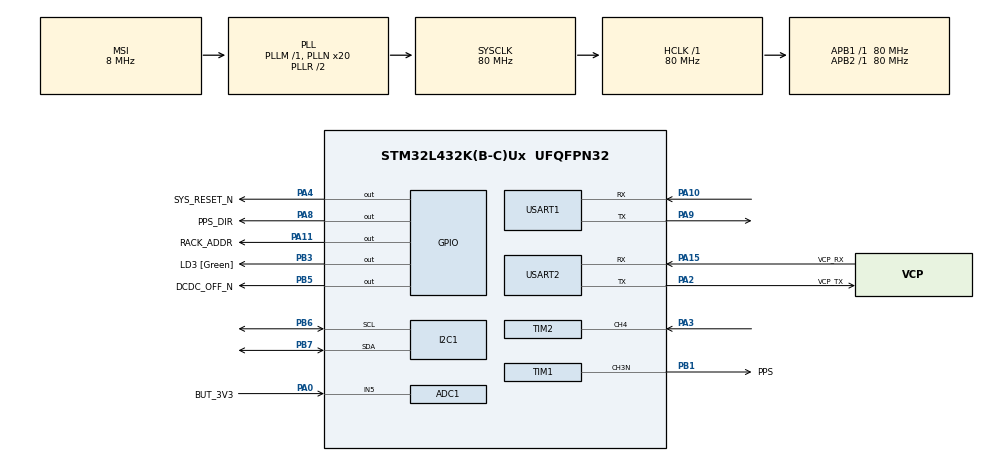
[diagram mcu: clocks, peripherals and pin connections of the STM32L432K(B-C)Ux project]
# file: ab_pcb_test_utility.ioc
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ADC1.Channel-0\#ChannelRegularConversion=ADC_CHANNEL_VREFINT
ADC1.Channel-2\#ChannelRegularConversion=ADC_CHANNEL_5
ADC1.NbrOfConversion=2
ADC1.NbrOfConversionFlag=1
ADC1.OffsetNumber-0\#ChannelRegularConversion=ADC_OFFSET_NONE
ADC1.OffsetNumber-2\#ChannelRegularConversion=ADC_OFFSET_NONE
ADC1.Rank-0\#ChannelRegularConversion=1
ADC1.Rank-2\#ChannelRegularConversion=2
ADC1.SamplingTime-0\#ChannelRegularConversion=ADC_SAMPLETIME_247CYCLES_5
ADC1.SamplingTime-2\#ChannelRegularConversion=ADC_SAMPLETIME_247CYCLES_5
ADC1.master=1
FREERTOS.Queues01=serialRxEventQueue,128,uint32_t,0,Dynamic,NULL,NULL;serialCmdTaskRxData,128,uint32_t,0,Dynamic,NULL,NULL;serialCmdTaskTxData,512,uint32_t,0,Dynamic,NULL,NULL
FREERTOS.Tasks01=defaultTask,0,128,StartDefaultTask,Default,NULL,Dynamic,NULL,NULL;serialBufferTask,0,256,sbt_SerialBufferTask,As external,NULL,Dynamic,NULL,NULL;serialCmdTask,-1,512,sct_SerialCmdTask,As external,NULL,Dynamic,NULL,NULL
FREERTOS.configMAX_TASK_NAME_LEN=32
FREERTOS.configTOTAL_HEAP_SIZE=8192
I2C1.Timing=0x10909CEC
Mcu.Family=STM32L4
Mcu.Name=STM32L432K(B-C)Ux
Mcu.Package=UFQFPN32
NVIC.PriorityGroup=NVIC_PRIORITYGROUP_4
NVIC.TIM1_CC_IRQn=true\:5\:0\:true\:false\:true\:false\:true\:true
NVIC.TIM1_UP_TIM16_IRQn=true\:0\:0\:false\:false\:true\:false\:false\:true
NVIC.TimeBase=TIM1_UP_TIM16_IRQn
NVIC.TimeBaseIP=TIM16
NVIC.USART2_IRQn=true\:5\:0\:true\:false\:true\:false\:true\:true
PA0.GPIO_Label=BUT_3V3
PA0.Signal=ADCx_IN5
PA10.Mode=Asynchronous
PA10.Signal=USART1_RX
PA11.GPIO_Label=RACK_ADDR
PA11.GPIO_ModeDefaultOutputPP=GPIO_MODE_OUTPUT_OD
PA11.Signal=GPIO_Output
PA13\ (JTMS-SWDIO).GPIO_Label=SWDIO
PA13\ (JTMS-SWDIO).Mode=Serial_Wire
PA13\ (JTMS-SWDIO).Signal=SYS_JTMS-SWDIO
PA14\ (JTCK-SWCLK).GPIO_Label=SWCLK
PA14\ (JTCK-SWCLK).Mode=Serial_Wire
PA14\ (JTCK-SWCLK).Signal=SYS_JTCK-SWCLK
PA15\ (JTDI).GPIO_Label=VCP_RX
PA15\ (JTDI).Mode=Asynchronous
PA15\ (JTDI).Signal=USART2_RX
PA2.GPIO_Label=VCP_TX
PA2.Mode=Asynchronous
PA2.Signal=USART2_TX
PA3.Signal=S_TIM2_CH4
PA4.GPIO_Label=SYS_RESET_N
PA4.GPIO_ModeDefaultOutputPP=GPIO_MODE_OUTPUT_OD
PA4.PinState=GPIO_PIN_SET
PA4.Signal=GPIO_Output
PA8.GPIO_Label=PPS_DIR
PA8.PinState=GPIO_PIN_SET
PA8.Signal=GPIO_Output
PA9.Mode=Asynchronous
PA9.Signal=USART1_TX
PB1.GPIO_Label=PPS
PB1.Mode=PWM Generation3 CH3N
PB1.Signal=TIM1_CH3N
PB3\ (JTDO-TRACESWO).GPIO_Label=LD3 [Green]
PB3\ (JTDO-TRACESWO).Signal=GPIO_Output
PB5.GPIO_Label=DCDC_OFF_N
PB5.GPIO_ModeDefaultOutputPP=GPIO_MODE_OUTPUT_OD
PB5.PinState=GPIO_PIN_RESET
PB5.Signal=GPIO_Output
PB6.Mode=I2C
PB6.Signal=I2C1_SCL
PB7.Mode=I2C
PB7.Signal=I2C1_SDA
PC14-OSC32_IN\ (PC14).Mode=LSE-External-Oscillator
PC14-OSC32_IN\ (PC14).Signal=RCC_OSC32_IN
PC15-OSC32_OUT\ (PC15).Mode=LSE-External-Oscillator
PC15-OSC32_OUT\ (PC15).Signal=RCC_OSC32_OUT
ProjectManager.HeapSize=0x200
ProjectManager.StackSize=0x400
ProjectManager.TargetToolchain=STM32CubeIDE
RCC.ADCFreq_Value=32000000
RCC.AHBFreq_Value=80000000
RCC.APB1Freq_Value=80000000
RCC.APB1TimFreq_Value=80000000
RCC.APB2Freq_Value=80000000
RCC.APB2TimFreq_Value=80000000
RCC.CortexFreq_Value=80000000
RCC.HCLKFreq_Value=80000000
RCC.HSE_VALUE=8000000
RCC.HSI16_VALUE=16000000
RCC.HSI48_VALUE=48000000
RCC.HSI_VALUE=16000000
RCC.MSIClockRange=RCC_MSIRANGE_7
RCC.MSI_VALUE=8000000
RCC.PLLMUL=RCC_PLLMUL_4
RCC.PLLN=20
RCC.SYSCLKFreq_VALUE=80000000
RCC.SYSCLKSource=RCC_SYSCLKSOURCE_PLLCLK
RCC.USBFreq_Value=32000000
RCC.VCOOutputFreq_Value=160000000
SH.ADCx_IN5.0=ADC1_IN5,IN5-Single-Ended
SH.S_TIM2_CH4.0=TIM2_CH4,Input_Capture4_from_TI4
TIM1.Channel-PWM\ Generation3\ CH3N=TIM_CHANNEL_3
TIM1.OCFastMode_PWM-PWM\ Generation3\ CH3N=TIM_OCFAST_ENABLE
TIM1.Period=10000
TIM1.Prescaler=8000
TIM1.Pulse-PWM\ Generation3\ CH3N=100
TIM2.Channel-Input_Capture4_from_TI4=TIM_CHANNEL_4
USART1.VirtualMode-Asynchronous=VM_ASYNC
USART2.VirtualMode-Asynchronous=VM_ASYNC
VP_ADC1_Vref_Input.Mode=IN-Vrefint
VP_FREERTOS_VS_CMSIS_V1.Mode=CMSIS_V1
VP_SYS_VS_tim16.Mode=TIM16
VP_TIM1_VS_ClockSourceINT.Mode=Internal
board=NUCLEO-L432KC

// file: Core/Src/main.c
/* USER CODE BEGIN Header */
/**
  ******************************************************************************
  * @file           : main.c
  * @brief          : Main program body
  ******************************************************************************
  * @attention
  *
  * <h2><center>&copy; Copyright (c) 2020 STMicroelectronics.
  * All rights reserved.</center></h2>
  *
  * This software component is licensed by ST under BSD 3-Clause license,
  * the "License"; You may not use this file except in compliance with the
  * License. You may obtain a copy of the License at:
  *                        opensource.org/licenses/BSD-3-Clause
  *
  ******************************************************************************
  */
/* USER CODE END Header */
#include "main.h"
#include "cmsis_os.h"

/* USER CODE BEGIN Includes */
#include "serial_buffer_task.h"
#include "serial_cmd_task.h"
/* USER CODE END Includes */

ADC_HandleTypeDef hadc1;

I2C_HandleTypeDef hi2c1;

TIM_HandleTypeDef htim1;
TIM_HandleTypeDef htim2;

UART_HandleTypeDef huart1;
UART_HandleTypeDef huart2;

osThreadId defaultTaskHandle;
osThreadId serialBufferTaskHandle;
osThreadId serialCmdTaskHandle;
osMessageQId serialRxEventQueueHandle;
osMessageQId serialCmdTaskRxDataHandle;
osMessageQId serialCmdTaskTxDataHandle;

void SystemClock_Config(void);
static void MX_GPIO_Init(void);
static void MX_USART2_UART_Init(void);
static void MX_TIM2_Init(void);
static void MX_USART1_UART_Init(void);
static void MX_I2C1_Init(void);
static void MX_TIM1_Init(void);
static void MX_ADC1_Init(void);
void StartDefaultTask(void const * argument);
extern void sbt_SerialBufferTask(void const * argument);
extern void sct_SerialCmdTask(void const * argument);

int main(void)
{
  /* USER CODE BEGIN 1 */
	sbt_Init_t sbt_init_data;
	sct_Init_t sct_init_data;
  /* USER CODE END 1 */

  /* MCU Configuration--------------------------------------------------------*/

  /* Reset of all peripherals, Initializes the Flash interface and the Systick. */
  HAL_Init();

  /* Configure the system clock */
  SystemClock_Config();

  /* Initialize all configured peripherals */
  MX_GPIO_Init();
  MX_USART2_UART_Init();
  MX_TIM2_Init();
  MX_USART1_UART_Init();
  MX_I2C1_Init();
  MX_TIM1_Init();
  MX_ADC1_Init();

  /* Create the queue(s) */
  /* definition and creation of serialRxEventQueue */
  osMessageQDef(serialRxEventQueue, 128, uint32_t);
  serialRxEventQueueHandle = osMessageCreate(osMessageQ(serialRxEventQueue), NULL);

  /* definition and creation of serialCmdTaskRxData */
  osMessageQDef(serialCmdTaskRxData, 128, uint32_t);
  serialCmdTaskRxDataHandle = osMessageCreate(osMessageQ(serialCmdTaskRxData), NULL);

  /* definition and creation of serialCmdTaskTxData */
  osMessageQDef(serialCmdTaskTxData, 512, uint32_t);
  serialCmdTaskTxDataHandle = osMessageCreate(osMessageQ(serialCmdTaskTxData), NULL);

  /* Create the thread(s) */
  /* definition and creation of defaultTask */
  osThreadDef(defaultTask, StartDefaultTask, osPriorityNormal, 0, 128);
  defaultTaskHandle = osThreadCreate(osThread(defaultTask), NULL);

  /* definition and creation of serialBufferTask */
  osThreadDef(serialBufferTask, sbt_SerialBufferTask, osPriorityNormal, 0, 256);
  serialBufferTaskHandle = osThreadCreate(osThread(serialBufferTask), NULL);

  /* definition and creation of serialCmdTask */
  osThreadDef(serialCmdTask, sct_SerialCmdTask, osPriorityBelowNormal, 0, 512);
  serialCmdTaskHandle = osThreadCreate(osThread(serialCmdTask), NULL);

  /* USER CODE BEGIN RTOS_THREADS */
  /* add threads, ... */
  sbt_init_data.rx_event_queue				= serialRxEventQueueHandle;
  sbt_init_data.no_uarts					= 1;
  sbt_init_data.uarts[0].huart 				= &huart2;
  sbt_init_data.uarts[0].uart_rx_data_queue	= serialCmdTaskRxDataHandle;
  sbt_init_data.uarts[0].uart_tx_data_queue = serialCmdTaskTxDataHandle;
  sbt_InitTask(sbt_init_data);

  sct_init_data.tx_data_queue 				= serialCmdTaskTxDataHandle;
  sct_init_data.rx_data_queue 				= serialCmdTaskRxDataHandle;
  sct_init_data.i2c_device					= &hi2c1;
  sct_init_data.pps_gpio_pin				= PPS_Pin;
  sct_init_data.system_reset_n_gpio_port	= SYS_RESET_N_GPIO_Port;
  sct_init_data.system_reset_n_gpio_pin		= SYS_RESET_N_Pin;
  sct_init_data.dcdc_off_n_gpio_port		= DCDC_OFF_N_GPIO_Port;
  sct_init_data.dcdc_off_n_gpio_pin			= DCDC_OFF_N_Pin;
  sct_init_data.rack_addr_gpio_port			= RACK_ADDR_GPIO_Port;
  sct_init_data.rack_addr_gpio_pin			= RACK_ADDR_Pin;
  sct_init_data.ab_1pps_out_htim 			= &htim1;
  sct_init_data.ab_1pps_out_channel 		= TIM_CHANNEL_3;
  sct_init_data.adc_device					= &hadc1;
  sct_InitTask(sct_init_data);
  /* USER CODE END RTOS_THREADS */

  /* Start scheduler */
  osKernelStart();

  /* We should never get here as control is now taken by the scheduler */
  /* Infinite loop */
  while (1)
  {

  }
}

void SystemClock_Config(void)
{
  RCC_OscInitTypeDef RCC_OscInitStruct = {0};
  RCC_ClkInitTypeDef RCC_ClkInitStruct = {0};
  RCC_PeriphCLKInitTypeDef PeriphClkInit = {0};

  /** Configure LSE Drive Capability
  */
  HAL_PWR_EnableBkUpAccess();
  __HAL_RCC_LSEDRIVE_CONFIG(RCC_LSEDRIVE_LOW);
  /** Initializes the RCC Oscillators according to the specified parameters
  * in the RCC_OscInitTypeDef structure.
  */
  RCC_OscInitStruct.OscillatorType = RCC_OSCILLATORTYPE_LSE|RCC_OSCILLATORTYPE_MSI;
  RCC_OscInitStruct.LSEState = RCC_LSE_ON;
  RCC_OscInitStruct.MSIState = RCC_MSI_ON;
  RCC_OscInitStruct.MSICalibrationValue = 0;
  RCC_OscInitStruct.MSIClockRange = RCC_MSIRANGE_7;
  RCC_OscInitStruct.PLL.PLLState = RCC_PLL_ON;
  RCC_OscInitStruct.PLL.PLLSource = RCC_PLLSOURCE_MSI;
  RCC_OscInitStruct.PLL.PLLM = 1;
  RCC_OscInitStruct.PLL.PLLN = 20;
  RCC_OscInitStruct.PLL.PLLP = RCC_PLLP_DIV7;
  RCC_OscInitStruct.PLL.PLLQ = RCC_PLLQ_DIV2;
  RCC_OscInitStruct.PLL.PLLR = RCC_PLLR_DIV2;
  if (HAL_RCC_OscConfig(&RCC_OscInitStruct) != HAL_OK)
  {
    Error_Handler();
  }
  /** Initializes the CPU, AHB and APB buses clocks
  */
  RCC_ClkInitStruct.ClockType = RCC_CLOCKTYPE_HCLK|RCC_CLOCKTYPE_SYSCLK
                              |RCC_CLOCKTYPE_PCLK1|RCC_CLOCKTYPE_PCLK2;
  RCC_ClkInitStruct.SYSCLKSource = RCC_SYSCLKSOURCE_PLLCLK;
  RCC_ClkInitStruct.AHBCLKDivider = RCC_SYSCLK_DIV1;
  RCC_ClkInitStruct.APB1CLKDivider = RCC_HCLK_DIV1;
  RCC_ClkInitStruct.APB2CLKDivider = RCC_HCLK_DIV1;

  if (HAL_RCC_ClockConfig(&RCC_ClkInitStruct, FLASH_LATENCY_4) != HAL_OK)
  {
    Error_Handler();
  }
  PeriphClkInit.PeriphClockSelection = RCC_PERIPHCLK_USART1|RCC_PERIPHCLK_USART2
                              |RCC_PERIPHCLK_I2C1|RCC_PERIPHCLK_ADC;
  PeriphClkInit.Usart1ClockSelection = RCC_USART1CLKSOURCE_PCLK2;
  PeriphClkInit.Usart2ClockSelection = RCC_USART2CLKSOURCE_PCLK1;
  PeriphClkInit.I2c1ClockSelection = RCC_I2C1CLKSOURCE_PCLK1;
  PeriphClkInit.AdcClockSelection = RCC_ADCCLKSOURCE_PLLSAI1;
  PeriphClkInit.PLLSAI1.PLLSAI1Source = RCC_PLLSOURCE_MSI;
  PeriphClkInit.PLLSAI1.PLLSAI1M = 1;
  PeriphClkInit.PLLSAI1.PLLSAI1N = 8;
  PeriphClkInit.PLLSAI1.PLLSAI1P = RCC_PLLP_DIV7;
  PeriphClkInit.PLLSAI1.PLLSAI1Q = RCC_PLLQ_DIV2;
  PeriphClkInit.PLLSAI1.PLLSAI1R = RCC_PLLR_DIV2;
  PeriphClkInit.PLLSAI1.PLLSAI1ClockOut = RCC_PLLSAI1_ADC1CLK;
  if (HAL_RCCEx_PeriphCLKConfig(&PeriphClkInit) != HAL_OK)
  {
    Error_Handler();
  }
  /** Configure the main internal regulator output voltage
  */
  if (HAL_PWREx_ControlVoltageScaling(PWR_REGULATOR_VOLTAGE_SCALE1) != HAL_OK)
  {
    Error_Handler();
  }
  /** Enable MSI Auto calibration
  */
  HAL_RCCEx_EnableMSIPLLMode();
}

static void MX_ADC1_Init(void)
{

  ADC_ChannelConfTypeDef sConfig = {0};

  /** Common config
  */
  hadc1.Instance = ADC1;
  hadc1.Init.ClockPrescaler = ADC_CLOCK_ASYNC_DIV1;
  hadc1.Init.Resolution = ADC_RESOLUTION_12B;
  hadc1.Init.DataAlign = ADC_DATAALIGN_RIGHT;
  hadc1.Init.ScanConvMode = ADC_SCAN_ENABLE;
  hadc1.Init.EOCSelection = ADC_EOC_SINGLE_CONV;
  hadc1.Init.LowPowerAutoWait = DISABLE;
  hadc1.Init.ContinuousConvMode = DISABLE;
  hadc1.Init.NbrOfConversion = 2;
  hadc1.Init.DiscontinuousConvMode = DISABLE;
  hadc1.Init.ExternalTrigConv = ADC_SOFTWARE_START;
  hadc1.Init.ExternalTrigConvEdge = ADC_EXTERNALTRIGCONVEDGE_NONE;
  hadc1.Init.DMAContinuousRequests = DISABLE;
  hadc1.Init.Overrun = ADC_OVR_DATA_PRESERVED;
  hadc1.Init.OversamplingMode = DISABLE;
  if (HAL_ADC_Init(&hadc1) != HAL_OK)
  {
    Error_Handler();
  }
  /** Configure Regular Channel
  */
  sConfig.Channel = ADC_CHANNEL_VREFINT;
  sConfig.Rank = ADC_REGULAR_RANK_1;
  sConfig.SamplingTime = ADC_SAMPLETIME_247CYCLES_5;
  sConfig.SingleDiff = ADC_SINGLE_ENDED;
  sConfig.OffsetNumber = ADC_OFFSET_NONE;
  sConfig.Offset = 0;
  if (HAL_ADC_ConfigChannel(&hadc1, &sConfig) != HAL_OK)
  {
    Error_Handler();
  }
  /** Configure Regular Channel
  */
  sConfig.Channel = ADC_CHANNEL_5;
  sConfig.Rank = ADC_REGULAR_RANK_2;
  if (HAL_ADC_ConfigChannel(&hadc1, &sConfig) != HAL_OK)
  {
    Error_Handler();
  }

}

static void MX_I2C1_Init(void)
{

  hi2c1.Instance = I2C1;
  hi2c1.Init.Timing = 0x10909CEC;
  hi2c1.Init.OwnAddress1 = 0;
  hi2c1.Init.AddressingMode = I2C_ADDRESSINGMODE_7BIT;
  hi2c1.Init.DualAddressMode = I2C_DUALADDRESS_DISABLE;
  hi2c1.Init.OwnAddress2 = 0;
  hi2c1.Init.OwnAddress2Masks = I2C_OA2_NOMASK;
  hi2c1.Init.GeneralCallMode = I2C_GENERALCALL_DISABLE;
  hi2c1.Init.NoStretchMode = I2C_NOSTRETCH_DISABLE;
  if (HAL_I2C_Init(&hi2c1) != HAL_OK)
  {
    Error_Handler();
  }
  /** Configure Analogue filter
  */
  if (HAL_I2CEx_ConfigAnalogFilter(&hi2c1, I2C_ANALOGFILTER_ENABLE) != HAL_OK)
  {
    Error_Handler();
  }
  /** Configure Digital filter
  */
  if (HAL_I2CEx_ConfigDigitalFilter(&hi2c1, 0) != HAL_OK)
  {
    Error_Handler();
  }

}

static void MX_TIM1_Init(void)
{

  TIM_ClockConfigTypeDef sClockSourceConfig = {0};
  TIM_MasterConfigTypeDef sMasterConfig = {0};
  TIM_OC_InitTypeDef sConfigOC = {0};
  TIM_BreakDeadTimeConfigTypeDef sBreakDeadTimeConfig = {0};

  htim1.Instance = TIM1;
  htim1.Init.Prescaler = 8000;
  htim1.Init.CounterMode = TIM_COUNTERMODE_UP;
  htim1.Init.Period = 10000;
  htim1.Init.ClockDivision = TIM_CLOCKDIVISION_DIV1;
  htim1.Init.RepetitionCounter = 0;
  htim1.Init.AutoReloadPreload = TIM_AUTORELOAD_PRELOAD_DISABLE;
  if (HAL_TIM_Base_Init(&htim1) != HAL_OK)
  {
    Error_Handler();
  }
  sClockSourceConfig.ClockSource = TIM_CLOCKSOURCE_INTERNAL;
  if (HAL_TIM_ConfigClockSource(&htim1, &sClockSourceConfig) != HAL_OK)
  {
    Error_Handler();
  }
  if (HAL_TIM_PWM_Init(&htim1) != HAL_OK)
  {
    Error_Handler();
  }
  sMasterConfig.MasterOutputTrigger = TIM_TRGO_RESET;
  sMasterConfig.MasterOutputTrigger2 = TIM_TRGO2_RESET;
  sMasterConfig.MasterSlaveMode = TIM_MASTERSLAVEMODE_DISABLE;
  if (HAL_TIMEx_MasterConfigSynchronization(&htim1, &sMasterConfig) != HAL_OK)
  {
    Error_Handler();
  }
  sConfigOC.OCMode = TIM_OCMODE_PWM1;
  sConfigOC.Pulse = 100;
  sConfigOC.OCPolarity = TIM_OCPOLARITY_HIGH;
  sConfigOC.OCNPolarity = TIM_OCNPOLARITY_HIGH;
  sConfigOC.OCFastMode = TIM_OCFAST_ENABLE;
  sConfigOC.OCIdleState = TIM_OCIDLESTATE_RESET;
  sConfigOC.OCNIdleState = TIM_OCNIDLESTATE_RESET;
  if (HAL_TIM_PWM_ConfigChannel(&htim1, &sConfigOC, TIM_CHANNEL_3) != HAL_OK)
  {
    Error_Handler();
  }
  sBreakDeadTimeConfig.OffStateRunMode = TIM_OSSR_DISABLE;
  sBreakDeadTimeConfig.OffStateIDLEMode = TIM_OSSI_DISABLE;
  sBreakDeadTimeConfig.LockLevel = TIM_LOCKLEVEL_OFF;
  sBreakDeadTimeConfig.DeadTime = 0;
  sBreakDeadTimeConfig.BreakState = TIM_BREAK_DISABLE;
  sBreakDeadTimeConfig.BreakPolarity = TIM_BREAKPOLARITY_HIGH;
  sBreakDeadTimeConfig.BreakFilter = 0;
  sBreakDeadTimeConfig.Break2State = TIM_BREAK2_DISABLE;
  sBreakDeadTimeConfig.Break2Polarity = TIM_BREAK2POLARITY_HIGH;
  sBreakDeadTimeConfig.Break2Filter = 0;
  sBreakDeadTimeConfig.AutomaticOutput = TIM_AUTOMATICOUTPUT_DISABLE;
  if (HAL_TIMEx_ConfigBreakDeadTime(&htim1, &sBreakDeadTimeConfig) != HAL_OK)
  {
    Error_Handler();
  }
  HAL_TIM_MspPostInit(&htim1);

}

static void MX_TIM2_Init(void)
{

  TIM_MasterConfigTypeDef sMasterConfig = {0};
  TIM_IC_InitTypeDef sConfigIC = {0};

  htim2.Instance = TIM2;
  htim2.Init.Prescaler = 0;
  htim2.Init.CounterMode = TIM_COUNTERMODE_UP;
  htim2.Init.Period = 4294967295;
  htim2.Init.ClockDivision = TIM_CLOCKDIVISION_DIV1;
  htim2.Init.AutoReloadPreload = TIM_AUTORELOAD_PRELOAD_DISABLE;
  if (HAL_TIM_IC_Init(&htim2) != HAL_OK)
  {
    Error_Handler();
  }
  sMasterConfig.MasterOutputTrigger = TIM_TRGO_RESET;
  sMasterConfig.MasterSlaveMode = TIM_MASTERSLAVEMODE_DISABLE;
  if (HAL_TIMEx_MasterConfigSynchronization(&htim2, &sMasterConfig) != HAL_OK)
  {
    Error_Handler();
  }
  sConfigIC.ICPolarity = TIM_INPUTCHANNELPOLARITY_RISING;
  sConfigIC.ICSelection = TIM_ICSELECTION_DIRECTTI;
  sConfigIC.ICPrescaler = TIM_ICPSC_DIV1;
  sConfigIC.ICFilter = 0;
  if (HAL_TIM_IC_ConfigChannel(&htim2, &sConfigIC, TIM_CHANNEL_4) != HAL_OK)
  {
    Error_Handler();
  }

}

static void MX_USART1_UART_Init(void)
{

  huart1.Instance = USART1;
  huart1.Init.BaudRate = 115200;
  huart1.Init.WordLength = UART_WORDLENGTH_8B;
  huart1.Init.StopBits = UART_STOPBITS_1;
  huart1.Init.Parity = UART_PARITY_NONE;
  huart1.Init.Mode = UART_MODE_TX_RX;
  huart1.Init.HwFlowCtl = UART_HWCONTROL_NONE;
  huart1.Init.OverSampling = UART_OVERSAMPLING_16;
  huart1.Init.OneBitSampling = UART_ONE_BIT_SAMPLE_DISABLE;
  huart1.AdvancedInit.AdvFeatureInit = UART_ADVFEATURE_NO_INIT;
  if (HAL_UART_Init(&huart1) != HAL_OK)
  {
    Error_Handler();
  }

}

static void MX_USART2_UART_Init(void)
{

  huart2.Instance = USART2;
  huart2.Init.BaudRate = 115200;
  huart2.Init.WordLength = UART_WORDLENGTH_8B;
  huart2.Init.StopBits = UART_STOPBITS_1;
  huart2.Init.Parity = UART_PARITY_NONE;
  huart2.Init.Mode = UART_MODE_TX_RX;
  huart2.Init.HwFlowCtl = UART_HWCONTROL_NONE;
  huart2.Init.OverSampling = UART_OVERSAMPLING_16;
  huart2.Init.OneBitSampling = UART_ONE_BIT_SAMPLE_DISABLE;
  huart2.AdvancedInit.AdvFeatureInit = UART_ADVFEATURE_NO_INIT;
  if (HAL_UART_Init(&huart2) != HAL_OK)
  {
    Error_Handler();
  }

}

static void MX_GPIO_Init(void)
{
  GPIO_InitTypeDef GPIO_InitStruct = {0};

  /* GPIO Ports Clock Enable */
  __HAL_RCC_GPIOC_CLK_ENABLE();
  __HAL_RCC_GPIOA_CLK_ENABLE();
  __HAL_RCC_GPIOB_CLK_ENABLE();

  /*Configure GPIO pin Output Level */
  HAL_GPIO_WritePin(GPIOA, SYS_RESET_N_Pin|PPS_DIR_Pin, GPIO_PIN_SET);

  /*Configure GPIO pin Output Level */
  HAL_GPIO_WritePin(RACK_ADDR_GPIO_Port, RACK_ADDR_Pin, GPIO_PIN_RESET);

  /*Configure GPIO pin Output Level */
  HAL_GPIO_WritePin(GPIOB, LD3_Pin|DCDC_OFF_N_Pin, GPIO_PIN_RESET);

  /*Configure GPIO pins : SYS_RESET_N_Pin RACK_ADDR_Pin */
  GPIO_InitStruct.Pin = SYS_RESET_N_Pin|RACK_ADDR_Pin;
  GPIO_InitStruct.Mode = GPIO_MODE_OUTPUT_OD;
  GPIO_InitStruct.Pull = GPIO_NOPULL;
  GPIO_InitStruct.Speed = GPIO_SPEED_FREQ_LOW;
  HAL_GPIO_Init(GPIOA, &GPIO_InitStruct);

  /*Configure GPIO pin : PPS_DIR_Pin */
  GPIO_InitStruct.Pin = PPS_DIR_Pin;
  GPIO_InitStruct.Mode = GPIO_MODE_OUTPUT_PP;
  GPIO_InitStruct.Pull = GPIO_NOPULL;
  GPIO_InitStruct.Speed = GPIO_SPEED_FREQ_LOW;
  HAL_GPIO_Init(PPS_DIR_GPIO_Port, &GPIO_InitStruct);

  /*Configure GPIO pin : LD3_Pin */
  GPIO_InitStruct.Pin = LD3_Pin;
  GPIO_InitStruct.Mode = GPIO_MODE_OUTPUT_PP;
  GPIO_InitStruct.Pull = GPIO_NOPULL;
  GPIO_InitStruct.Speed = GPIO_SPEED_FREQ_LOW;
  HAL_GPIO_Init(LD3_GPIO_Port, &GPIO_InitStruct);

  /*Configure GPIO pin : DCDC_OFF_N_Pin */
  GPIO_InitStruct.Pin = DCDC_OFF_N_Pin;
  GPIO_InitStruct.Mode = GPIO_MODE_OUTPUT_OD;
  GPIO_InitStruct.Pull = GPIO_NOPULL;
  GPIO_InitStruct.Speed = GPIO_SPEED_FREQ_LOW;
  HAL_GPIO_Init(DCDC_OFF_N_GPIO_Port, &GPIO_InitStruct);

}

void StartDefaultTask(void const * argument)
{
  for(;;)
  {
    osDelay(1);
  }
}

void HAL_TIM_PeriodElapsedCallback(TIM_HandleTypeDef *htim)
{
  if (htim->Instance == TIM16) {
    HAL_IncTick();
  }
}

void Error_Handler(void)
{
}

/************************ (C) COPYRIGHT STMicroelectronics *****END OF FILE****/
